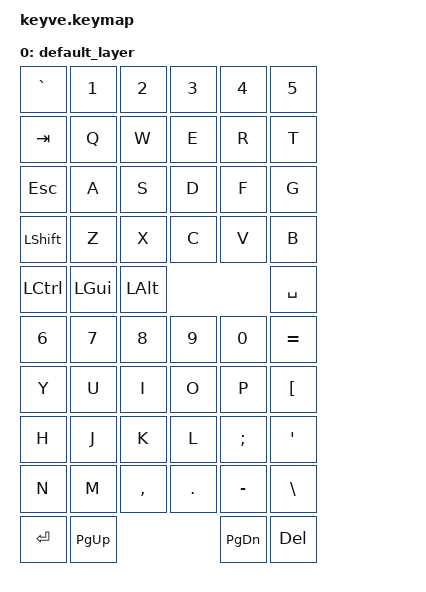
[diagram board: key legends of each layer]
#include <behaviors.dtsi>
#include <dt-bindings/zmk/keys.h>

/ {
    keymap {
        compatible = "zmk,keymap";

        default_layer {
            bindings = <
                /* Left half */
                &kp GRAVE  &kp N1    &kp N2    &kp N3  &kp N4  &kp N5
                &kp TAB    &kp Q     &kp W     &kp E   &kp R   &kp T
                &kp ESC    &kp A     &kp S     &kp D   &kp F   &kp G
                &kp LSHFT  &kp Z     &kp X     &kp C   &kp V   &kp B
                &kp LCTRL  &kp LGUI  &kp LALT                  &kp SPACE

                /* Right half */
                &kp N6   &kp N7  &kp N8     &kp N9     &kp N0     &kp EQUAL
                &kp Y    &kp U   &kp I      &kp O      &kp P      &kp LBKT
                &kp H    &kp J   &kp K      &kp L      &kp SEMI   &kp SQT
                &kp N    &kp M   &kp COMMA  &kp DOT    &kp MINUS  &kp BSLH
                &kp RET                    &kp PG_UP  &kp PG_DN  &kp DEL
            >;
        };
    };
};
